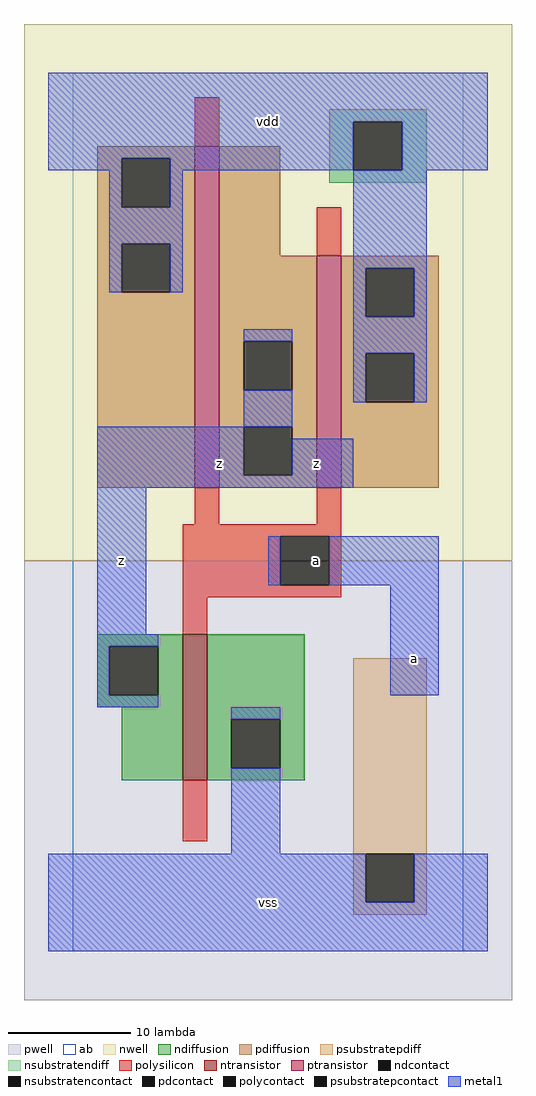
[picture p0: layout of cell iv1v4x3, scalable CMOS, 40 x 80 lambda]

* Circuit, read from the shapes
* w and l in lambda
.subckt iv1v4x3 a vdd vss z
M1 vss a z vss nfet w=12 l=2
M2 z a vdd vdd pfet w=28 l=2
M3 vdd a z vdd pfet w=19 l=2
.ends

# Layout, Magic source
magic
tech scmos
<< ab >>
rect 0 0 32 72
<< pwell >>
rect -4 -4 36 32
<< nwell >>
rect -4 32 36 76
<< polysilicon >>
rect 10 66 12 70
rect 20 57 22 61
rect 10 35 12 38
rect 20 35 22 38
rect 9 34 22 35
rect 9 30 17 34
rect 21 30 22 34
rect 9 29 22 30
rect 9 26 11 29
rect 9 9 11 14
<< ndiffusion >>
rect 2 25 9 26
rect 2 21 3 25
rect 7 21 9 25
rect 2 20 9 21
rect 4 14 9 20
rect 11 19 19 26
rect 11 15 13 19
rect 17 15 19 19
rect 11 14 19 15
<< pdiffusion >>
rect 2 65 10 66
rect 2 61 4 65
rect 8 61 10 65
rect 2 58 10 61
rect 2 54 4 58
rect 8 54 10 58
rect 2 38 10 54
rect 12 57 17 66
rect 12 50 20 57
rect 12 46 14 50
rect 18 46 20 50
rect 12 43 20 46
rect 12 39 14 43
rect 18 39 20 43
rect 12 38 20 39
rect 22 56 30 57
rect 22 52 24 56
rect 28 52 30 56
rect 22 49 30 52
rect 22 45 24 49
rect 28 45 30 49
rect 22 38 30 45
<< metal1 >>
rect -2 68 34 72
rect -2 65 23 68
rect -2 64 4 65
rect 3 61 4 64
rect 8 64 23 65
rect 27 64 34 68
rect 8 61 9 64
rect 3 58 9 61
rect 3 54 4 58
rect 8 54 9 58
rect 23 56 29 64
rect 23 52 24 56
rect 28 52 29 56
rect 14 50 18 51
rect 14 43 18 46
rect 23 49 29 52
rect 23 45 24 49
rect 28 45 29 49
rect 2 39 14 43
rect 18 39 23 42
rect 2 38 23 39
rect 2 26 6 38
rect 16 30 17 34
rect 21 30 30 34
rect 2 25 7 26
rect 2 21 3 25
rect 26 21 30 30
rect 2 20 7 21
rect 13 19 17 20
rect 13 8 17 15
rect -2 4 24 8
rect 28 4 34 8
rect -2 0 34 4
<< ntransistor >>
rect 9 14 11 26
<< ptransistor >>
rect 10 38 12 66
rect 20 38 22 57
<< polycontact >>
rect 17 30 21 34
<< ndcontact >>
rect 3 21 7 25
rect 13 15 17 19
<< pdcontact >>
rect 4 61 8 65
rect 4 54 8 58
rect 14 46 18 50
rect 14 39 18 43
rect 24 52 28 56
rect 24 45 28 49
<< psubstratepcontact >>
rect 24 4 28 8
<< nsubstratencontact >>
rect 23 64 27 68
<< psubstratepdiff >>
rect 23 8 29 24
rect 23 4 24 8
rect 28 4 29 8
rect 23 3 29 4
<< nsubstratendiff >>
rect 21 68 29 69
rect 21 64 23 68
rect 27 64 29 68
rect 21 63 29 64
<< labels >>
rlabel metal1 4 32 4 32 6 z
rlabel metal1 12 40 12 40 6 z
rlabel metal1 16 4 16 4 6 vss
rlabel polycontact 20 32 20 32 6 a
rlabel metal1 20 40 20 40 6 z
rlabel metal1 16 68 16 68 6 vdd
rlabel metal1 28 24 28 24 6 a
<< end >>
